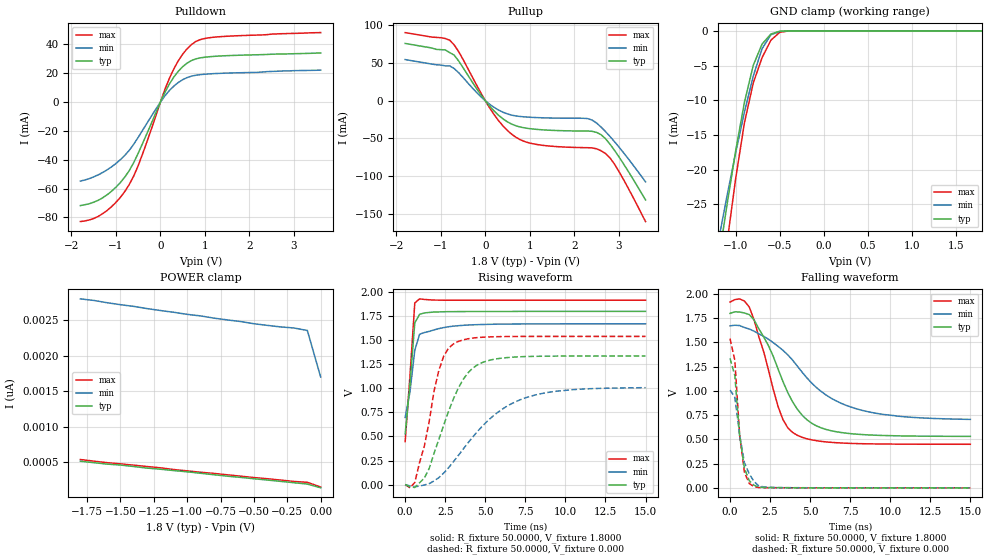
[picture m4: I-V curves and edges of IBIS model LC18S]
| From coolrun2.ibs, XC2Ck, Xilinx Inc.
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|   Model LC18S
[Model]   LC18S
Model_type   I/O
Polarity   Inverting
Enable   Active-High
Vinl =   0.36000V
Vinh =   1.26000V
Vmeas =   0.9000V
Cref =  35.0000pF
Rref =  56.0000
Vref =  0.9000V
C_comp   1.4810pF   0.9482pF   2.0140pF
[Temperature Range]   25.0000   100.0000   0.000
[Voltage Range]   1.8000V   1.7000V   1.9000V
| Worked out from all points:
|   slope of the pulldown table from 0 to 0.27 V, typ, clamps not added: 17 ohm
|   slope of the pullup table from 0 to 0.27 V, typ, clamps not added: 15.3 ohm
|   GND clamp passes 1 mA (typ) near -0.64 V on its own axis
|   rising waveform, R_fixture 50.0000, V_fixture 1.8000: 20-80 % time 389ps typ, 526ps min, 366ps max; typ from 0.528 V to 1.8 V
|   rising waveform, R_fixture 50.0000, V_fixture 0.000: 20-80 % time 1.85ns typ, 3.43ns min, 1.16ns max; typ from 0 V to 1.34 V
|   falling waveform, R_fixture 50.0000, V_fixture 1.8000: 20-80 % time 2.19ns typ, 3.74ns min, 1.53ns max; typ from 1.8 V to 0.531 V
|   falling waveform, R_fixture 50.0000, V_fixture 0.000: 20-80 % time 499ps typ, 651ps min, 453ps max; typ from 1.34 V to 0 V
[Pulldown]
| voltage   I(typ)   I(min)   I(max)
-1.8V     -71.81mA   -54.84mA   -82.9mA
-1.5V     -69.49mA   -51.9mA    -80.79mA
-1.2V     -64.37mA   -47.05mA   -75.24mA
-900mV    -55.8mA    -39.97mA   -66.09mA
-700mV    -47.49mA   -33.42mA   -57.13mA
-500mV    -35.5mA    -24.46mA   -44.05mA
200mV     12.46mA    7.971mA    16.42mA
400mV     21.32mA    13.55mA    28.59mA
700mV     28.84mA    18.01mA    39.96mA
900mV     30.67mA    19.03mA    43.37mA
1.2V      31.68mA    19.72mA    44.97mA
3.6V      34.07mA    22.12mA    48.19mA
[Pullup]
| voltage   I(typ)   I(min)   I(max)
-1.8V     75.94mA    54.57mA    90.37mA
-800mV    63.87mA    46.21mA    80.33mA
-600mV    52.86mA    37.29mA    65.25mA
-100mV    8.008mA    5.369mA    10.44mA
200mV     -13.74mA   -8.888mA   -18.59mA
700mV     -33.47mA   -20.28mA   -48.9mA
1.2V      -38.2mA    -22.44mA   -58.42mA
2.3V      -40.16mA   -23.67mA   -62.27mA
2.5V      -41.97mA   -29.53mA   -63.72mA
2.7V      -50.27mA   -40.81mA   -69.92mA
3V        -74.15mA   -61.15mA   -93.53mA
3.6V      -131.5mA   -107.6mA   -160.2mA
[GND_clamp]
| voltage   I(typ)   I(min)   I(max)
-1.8V     -89.59mA   -75.16mA   -106.6mA
-1.2V     -33.66mA   -30.6mA    -40.86mA
-1.1V     -25.24mA   -23.93mA   -30.77mA
-1V       -17.32mA   -17.6mA    -21.32mA
-900mV    -10.29mA   -11.7mA    -13.23mA
-800mV    -4.969mA   -6.512mA   -7.511mA
-700mV    -1.912mA   -2.585mA   -3.865mA
-600mV    -461.7uA   -562.3uA   -1.358mA
-500mV    -51.62uA   -96uA      -215.1uA
-400mV    -3.51uA    -19.18uA   -14.57uA
1.8V      138pA      2.653nA    129.2pA
[POWER_clamp]
| voltage   I(typ)   I(min)   I(max)
-1.8V     512.6pA    2.798nA    536.9pA
-1.7V     492.6pA    2.776nA    514.3pA
-1.6V     472.4pA    2.744nA    492.3pA
-1.5V     459pA      2.716nA    475.5pA
-900mV    343.2pA    2.558nA    357.9pA
-800mV    322.9pA    2.527nA    341.3pA
-600mV    285.4pA    2.479nA    302.4pA
-500mV    265.9pA    2.448nA    283pA
-300mV    229.4pA    2.403nA    247.3pA
-200mV    209.9pA    2.388nA    228.1pA
-100mV    191.6pA    2.353nA    216pA
0V        138.1pA    1.697nA    149.9pA
[Ramp]
| variable   typ   min   max
dV/dt_r   0.8022/1.8616n   0.6054/3.4365n   0.9240/1.1682n
dV/dt_f   0.7616/2.1840n   0.5549/3.6642n   0.8879/1.5826n
R_load = 50.0000
[Rising Waveform]
R_fixture = 50.0000
V_fixture = 1.8000
V_fixture_min = 1.6000
V_fixture_max = 2.0000
L_fixture = 0.000H
C_fixture = 0.000F
| time   V(typ)   V(min)   V(max)
0s        528.5mV    697.9mV    447.7mV
300ps     1.046V     965.1mV    1.135V
600ps     1.681V     1.397V     1.887V
900ps     1.769V     1.562V     1.93V
1.2ns     1.784V     1.58V      1.924V
2.4ns     1.796V     1.631V     1.916V
3ns       1.797V     1.647V     1.916V
4.2ns     1.799V     1.661V     1.916V
7.8ns     1.8V       1.67V      1.916V
15ns      1.8V       1.671V     1.916V
[Rising Waveform]
R_fixture = 50.0000
V_fixture = 0.000
V_fixture_min = 0.000
V_fixture_max = 0.000
L_fixture = 0.000H
C_fixture = 0.000F
| time   V(typ)   V(min)   V(max)
0s        380.7uV    473.7uV    -283.8uV
600ps     -29.92mV   -22.83mV   22.39mV
1.2ns     69.03mV    -3.687mV   403.2mV
2.1ns     469.1mV    72.4mV     1.185V
2.4ns     616.5mV    118.7mV    1.333V
3ns       886.5mV    235.1mV    1.46V
3.6ns     1.089V     364.7mV    1.504V
4.5ns     1.243V     550mV      1.528V
7.2ns     1.329V     883.1mV    1.54V
15ns      1.337V     1.007V     1.54V
[Falling Waveform]
R_fixture = 50.0000
V_fixture = 1.8000
V_fixture_min = 1.6000
V_fixture_max = 2.0000
L_fixture = 0.000H
C_fixture = 0.000F
| time   V(typ)   V(min)   V(max)
0s        1.8V       1.671V     1.917V
600ps     1.815V     1.675V     1.95V
1.2ns     1.788V     1.639V     1.867V
2.4ns     1.467V     1.534V     1.216V
3.3ns     1.098V     1.419V     705.5mV
4.2ns     811.7mV    1.256V     542.2mV
5.4ns     638.9mV    1.034V     486.3mV
7.8ns     555.3mV    820mV      457.3mV
10.5ns    536.5mV    739.3mV    451mV
15ns      531.2mV    706.4mV    449.7mV
[Falling Waveform]
R_fixture = 50.0000
V_fixture = 0.000
V_fixture_min = 0.000
V_fixture_max = 0.000
L_fixture = 0.000H
C_fixture = 0.000F
| time   V(typ)   V(min)   V(max)
0s        1.337V     1.01V      1.541V
300ps     1.159V     934.3mV    1.316V
600ps     538.9mV    548.8mV    546.8mV
900ps     202.6mV    259.1mV    160.8mV
1.2ns     73.97mV    144.7mV    44.76mV
1.5ns     26.75mV    64.7mV     11.85mV
1.8ns     8.121mV    20.1mV     3.512mV
2.7ns     2.034mV    4.29mV     1.712mV
15ns      1.588uV    13.3uV     680.9nV
